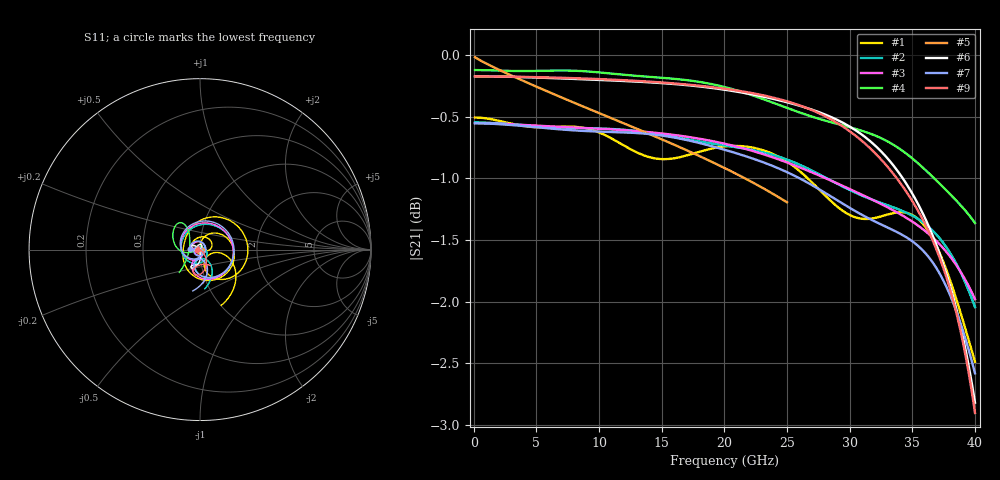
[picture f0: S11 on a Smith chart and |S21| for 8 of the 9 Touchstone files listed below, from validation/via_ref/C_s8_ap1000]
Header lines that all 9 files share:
# Hz S RI R 50
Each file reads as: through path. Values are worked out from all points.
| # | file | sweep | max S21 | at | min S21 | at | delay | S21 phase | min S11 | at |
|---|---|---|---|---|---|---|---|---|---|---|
| 1 | cst.s2p | 100 MHz to 40 GHz | -0.51 dB | 200 MHz | -2.5 dB | 40 GHz | 59.8 ps | -63 deg at 20.1 GHz | -36.1 dB | 7.5 GHz |
| 2 | cst_fine.s2p | 100 MHz to 40 GHz | -0.55 dB | 200 MHz | -2.0 dB | 40 GHz | 60.2 ps | -66 deg at 20.1 GHz | -39.6 dB | 10.6 GHz |
| 3 | kisi.s2p | 100 MHz to 40 GHz | -0.55 dB | 100 MHz | -2.0 dB | 40 GHz | 60.3 ps | -66 deg at 20.1 GHz | -39.4 dB | 13.8 GHz |
| 4 | kisi_deembedded.s2p | 100 MHz to 40 GHz | -0.12 dB | 100 MHz | -1.4 dB | 40 GHz | 13.5 ps | -90 deg at 20.1 GHz | -45.3 dB | 12.5 GHz |
| 5 | kisi_model.s2p | 100 MHz to 25 GHz | -0.02 dB | 100 MHz | -1.2 dB | 25 GHz | 58.2 ps | 98 deg at 12.6 GHz | -56.8 dB | 100 MHz |
| 6 | ladder.s2p | 100 MHz to 40 GHz | -0.17 dB | 100 MHz | -2.8 dB | 40 GHz | 16.2 ps | -92 deg at 20.1 GHz | -51.2 dB | 15.2 GHz |
| 7 | openems.s2p | 100 MHz to 40 GHz | -0.55 dB | 100 MHz | -2.6 dB | 40 GHz | 61 ps | -70 deg at 20.1 GHz | -39.7 dB | 14.6 GHz |
| 8 | openems_base.s2p | 100 MHz to 40 GHz | -0.55 dB | 100 MHz | -2.9 dB | 40 GHz | 61.3 ps | -72 deg at 20.1 GHz | -36.4 dB | 14.4 GHz |
| 9 | pbm.s2p | 100 MHz to 40 GHz | -0.17 dB | 100 MHz | -2.9 dB | 40 GHz | 15.5 ps | -87 deg at 20.1 GHz | -66.2 dB | 21 GHz |
